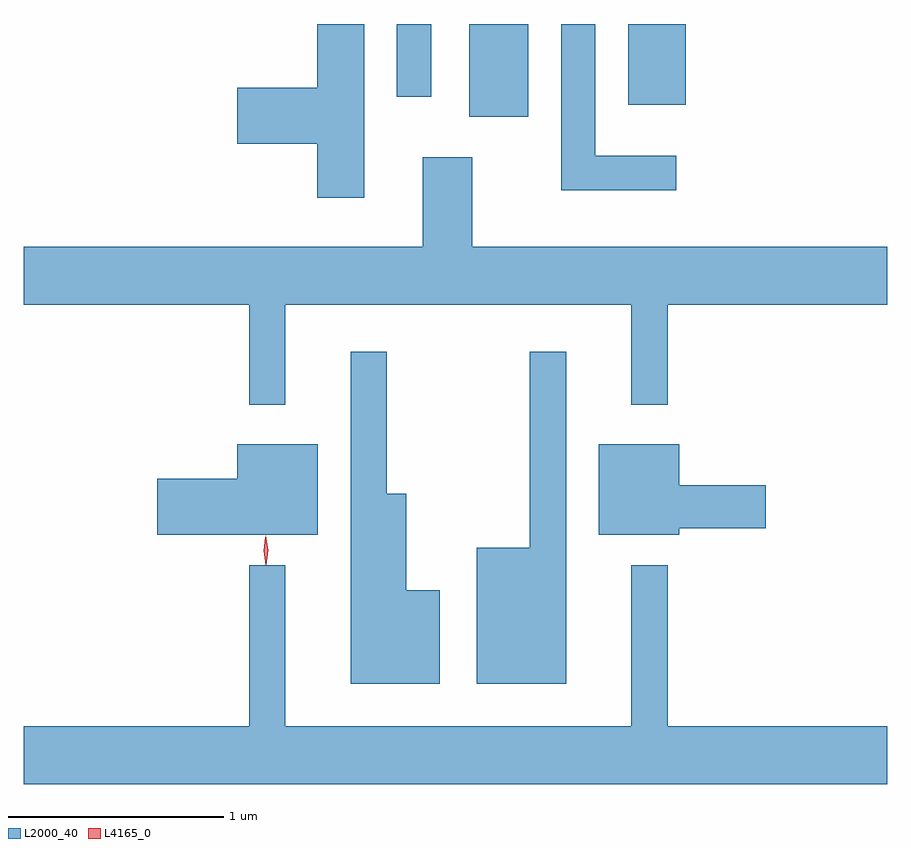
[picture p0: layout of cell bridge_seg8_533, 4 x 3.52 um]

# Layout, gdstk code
import gdstk
lib = gdstk.Library(unit=1e-6, precision=1e-09)
def R(c, l, rs):  # rectangles x0, y0, x1, y1
    for r in rs: c.add(gdstk.rectangle(r[:2], r[2:], *l))
def P(c, l, *ps):  # polygons
    for p in ps: c.add(gdstk.Polygon(p, *l))
L2000_40 = (2000, 40)
L4165_0 = (4165, 0)

bridge_seg8_533 = lib.new_cell('bridge_seg8_533')
R(bridge_seg8_533, L2000_40, [(419.131,1868.366,419.404,1868.795), (419.866,1868.421,420.134,1868.795), (418.796,1868.458,418.954,1868.795)])
P(bridge_seg8_533, L2000_40, [(418.644,1868.795),(418.426,1868.795),(418.426,1868.499),(418.056,1868.499),(418.056,1868.241),(418.426,1868.241),(418.426,1867.991),(418.644,1867.991)],
  [(420.088,1868.184),(419.714,1868.184),(419.714,1868.795),(419.556,1868.795),(419.556,1868.026),(420.088,1868.026)],
  [(418.279,1867.496),(419.881,1867.496),(419.881,1867.033),(420.049,1867.033),(420.049,1867.496),(421.067,1867.496),(421.067,1867.764),(419.144,1867.764),(419.144,1868.179),(418.916,1868.179),(418.916,1867.764),(417.067,1867.764),(417.067,1867.496),(418.111,1867.496),(418.111,1867.033),(418.279,1867.033)],
  [(419.579,1867.278),(419.411,1867.278),(419.411,1866.369),(419.166,1866.369),(419.166,1865.741),(419.579,1865.741)],
  [(418.994,1866.174),(418.839,1866.174),(418.839,1866.619),(418.749,1866.619),(418.749,1867.278),(418.581,1867.278),(418.581,1865.741),(418.994,1865.741)],
  [(420.104,1866.461),(420.504,1866.461),(420.504,1866.659),(420.104,1866.659),(420.104,1866.849),(419.731,1866.849),(419.731,1866.431),(420.104,1866.431)],
  [(418.429,1866.849),(418.056,1866.849),(418.056,1866.689),(417.686,1866.689),(417.686,1866.431),(418.429,1866.431)],
  [(421.067,1865.544),(420.049,1865.544),(420.049,1866.288),(419.881,1866.288),(419.881,1865.544),(418.279,1865.544),(418.279,1866.288),(418.111,1866.288),(418.111,1865.544),(417.067,1865.544),(417.067,1865.276),(421.067,1865.276)])
P(bridge_seg8_533, L4165_0, [(418.189,1866.29),(418.189,1866.29),(418.179,1866.358),(418.188,1866.425),(418.188,1866.426),(418.189,1866.425),(418.199,1866.358),(418.19,1866.29)],
  [(418.189,1866.293),(418.189,1866.293),(418.179,1866.356),(418.187,1866.419),(418.188,1866.42),(418.188,1866.419),(418.198,1866.356),(418.19,1866.293)])

lib.write_gds('bridge_seg8_533.gds')
